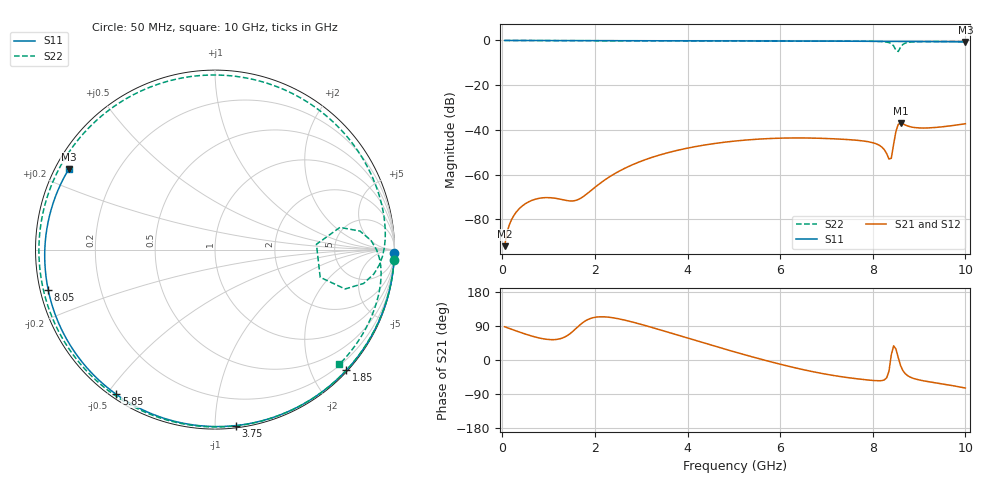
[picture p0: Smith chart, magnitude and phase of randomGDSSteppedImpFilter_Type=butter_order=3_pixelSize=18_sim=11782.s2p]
! freq	dB(S11)	phase(S11)	dB(S12)	phase(S12)
!  dB(S21)	phase(S21)	dB(S22)	phase(S22)
!S-par simulation data
#  GHz  S  DB  R 50
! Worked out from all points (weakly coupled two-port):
!   200 points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, 50 MHz to 10 GHz, reference 50 ohm
!   highest |S21| = -36.94 dB at 8.6 GHz (marker M1); lowest = -92.0 dB at 50 MHz (marker M2)
!   lowest |S11| = -0.6 dB at 10 GHz (marker M3), VSWR 27.54, Z = 1.93 + j12.8 ohm
!   |S11| at or under -10 dB: nowhere
!   |S22| runs from -4.9 to 0.0 dB; largest |S21 - S12| = 0
!   S11 on the Smith chart (normalised r, x): 50 MHz: 0, -97; 1.85 GHz: 0.02, -2.57; 3.75 GHz: 0.01, -1.13; 5.85 GHz: 0.02, -0.53; 8.05 GHz: 0.02, -0.12; 10 GHz: 0.04, +0.26
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0.05  -0.00 -1.2  -92.05 87.7  -92.05 87.7  -0.00 -3.4
0.2  -0.01 -4.7  -80.16 81.1  -80.16 81.1  -0.02 -13.7
0.55  -0.02 -12.9  -72.42 66.4  -72.42 66.4  -0.05 -37.0
0.9  -0.03 -21.0  -70.36 55.6  -70.36 55.6  -0.07 -59.3
1.5  -0.04 -34.7  -71.83 73.1  -71.83 73.1  -0.11 -94.4
1.75  -0.05 -40.3  -69.84 99.7  -69.84 99.7  -0.12 -107.8
1.85  -0.05 -42.6  -68.26 106.9  -68.26 106.9  -0.12 -112.9
2.6  -0.08 -59.0  -57.66 106.4  -57.66 106.4  -0.14 -148.3
3.4  -0.10 -76.0  -51.24 79.9  -51.24 79.9  -0.17 178.4
3.75  -0.11 -83.2  -49.32 67.1  -49.32 67.1  -0.18 164.7
5.05  -0.17 -109.0  -44.95 20.2  -44.95 20.2  -0.22 116.0
5.85  -0.21 -124.3  -43.82 -6.4  -43.82 -6.4  -0.24 86.8
6.7  -0.27 -140.4  -43.69 -30.7  -43.69 -30.7  -0.27 56.1
8.05  -0.39 -166.4  -46.07 -54.4  -46.07 -54.4  -0.40 7.1
8.35  -0.42 -172.4  -53.06 -29.5  -53.06 -29.5  -0.96 -8.8
8.4  -0.43 -173.4  -52.71 13.7  -52.71 13.7  -1.42 -12.8
8.45  -0.43 -174.4  -46.45 37.3  -46.45 37.3  -2.42 -16.8
8.55  -0.44 -176.5  -37.56 6.3  -37.56 6.3  -4.94 3.0
8.6  -0.45 -177.5  -36.94 -14.6  -36.94 -14.6  -3.01 10.1
8.7  -0.46 -179.6  -37.82 -36.0  -37.82 -36.0  -1.20 3.4
8.9  -0.48 176.2  -38.96 -49.4  -38.96 -49.4  -0.59 -7.9
10  -0.63 151.2  -37.27 -74.0  -37.27 -74.0  -0.51 -42.7
